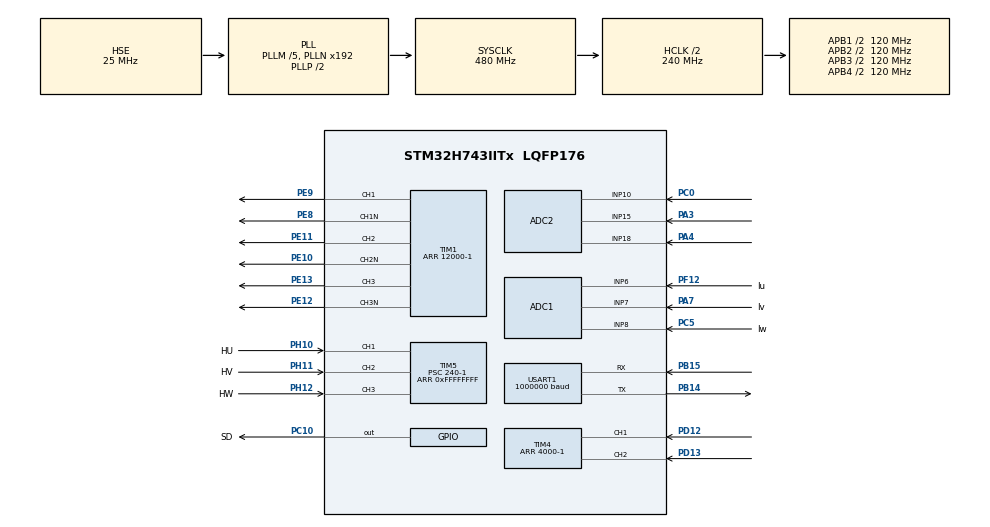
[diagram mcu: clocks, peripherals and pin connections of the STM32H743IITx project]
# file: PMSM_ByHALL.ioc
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ADC1.Channel-0\#ChannelRegularConversion=ADC_CHANNEL_6
ADC1.ClockPrescaler=ADC_CLOCK_ASYNC_DIV4
ADC1.EOCSelection=ADC_EOC_SEQ_CONV
ADC1.EnableInjectedConversion=ENABLE
ADC1.ExternalTrigInjecConv=ADC_EXTERNALTRIGINJEC_T1_CC4
ADC1.InjNumberOfConversion=3
ADC1.InjectedChannel-1\#ChannelInjectedConversion=ADC_CHANNEL_6
ADC1.InjectedChannel-2\#ChannelInjectedConversion=ADC_CHANNEL_7
ADC1.InjectedChannel-3\#ChannelInjectedConversion=ADC_CHANNEL_8
ADC1.InjectedOffsetNumber-1\#ChannelInjectedConversion=ADC_OFFSET_NONE
ADC1.InjectedOffsetNumber-2\#ChannelInjectedConversion=ADC_OFFSET_NONE
ADC1.InjectedOffsetNumber-3\#ChannelInjectedConversion=ADC_OFFSET_NONE
ADC1.InjectedOffsetSaturation-1\#ChannelInjectedConversion=DISABLE
ADC1.InjectedOffsetSaturation-2\#ChannelInjectedConversion=DISABLE
ADC1.InjectedOffsetSaturation-3\#ChannelInjectedConversion=DISABLE
ADC1.InjectedOffsetSignedSaturation-1\#ChannelInjectedConversion=DISABLE
ADC1.InjectedOffsetSignedSaturation-2\#ChannelInjectedConversion=DISABLE
ADC1.InjectedOffsetSignedSaturation-3\#ChannelInjectedConversion=DISABLE
ADC1.InjectedRank-1\#ChannelInjectedConversion=1
ADC1.InjectedRank-2\#ChannelInjectedConversion=2
ADC1.InjectedRank-3\#ChannelInjectedConversion=3
ADC1.InjectedSamplingTime-1\#ChannelInjectedConversion=ADC_SAMPLETIME_16CYCLES_5
ADC1.InjectedSamplingTime-2\#ChannelInjectedConversion=ADC_SAMPLETIME_16CYCLES_5
ADC1.InjectedSamplingTime-3\#ChannelInjectedConversion=ADC_SAMPLETIME_16CYCLES_5
ADC1.NbrOfConversionFlag=1
ADC1.OffsetNumber-0\#ChannelRegularConversion=ADC_OFFSET_NONE
ADC1.OffsetSignedSaturation-0\#ChannelRegularConversion=DISABLE
ADC1.Overrun=ADC_OVR_DATA_OVERWRITTEN
ADC1.Rank-0\#ChannelRegularConversion=1
ADC1.SamplingTime-0\#ChannelRegularConversion=ADC_SAMPLETIME_1CYCLE_5
ADC1.master=1
ADC2.Channel-3\#ChannelRegularConversion=ADC_CHANNEL_10
ADC2.Channel-4\#ChannelRegularConversion=ADC_CHANNEL_15
ADC2.Channel-5\#ChannelRegularConversion=ADC_CHANNEL_18
ADC2.ClockPrescaler=ADC_CLOCK_ASYNC_DIV4
ADC2.ContinuousConvMode=ENABLE
ADC2.ConversionDataManagement=ADC_CONVERSIONDATA_DMA_CIRCULAR
ADC2.NbrOfConversion=3
ADC2.NbrOfConversionFlag=1
ADC2.OffsetNumber-3\#ChannelRegularConversion=ADC_OFFSET_NONE
ADC2.OffsetNumber-4\#ChannelRegularConversion=ADC_OFFSET_NONE
ADC2.OffsetNumber-5\#ChannelRegularConversion=ADC_OFFSET_NONE
ADC2.OffsetSignedSaturation-3\#ChannelRegularConversion=DISABLE
ADC2.OffsetSignedSaturation-4\#ChannelRegularConversion=DISABLE
ADC2.OffsetSignedSaturation-5\#ChannelRegularConversion=DISABLE
ADC2.Rank-3\#ChannelRegularConversion=1
ADC2.Rank-4\#ChannelRegularConversion=2
ADC2.Rank-5\#ChannelRegularConversion=3
ADC2.SamplingTime-3\#ChannelRegularConversion=ADC_SAMPLETIME_16CYCLES_5
ADC2.SamplingTime-4\#ChannelRegularConversion=ADC_SAMPLETIME_16CYCLES_5
ADC2.SamplingTime-5\#ChannelRegularConversion=ADC_SAMPLETIME_16CYCLES_5
CORTEX_M7.default_mode_Activation=1
Dma.ADC2.0.Direction=DMA_PERIPH_TO_MEMORY
Dma.ADC2.0.EventEnable=DISABLE
Dma.ADC2.0.FIFOMode=DMA_FIFOMODE_DISABLE
Dma.ADC2.0.Instance=DMA1_Stream0
Dma.ADC2.0.MemDataAlignment=DMA_MDATAALIGN_HALFWORD
Dma.ADC2.0.MemInc=DMA_MINC_ENABLE
Dma.ADC2.0.Mode=DMA_CIRCULAR
Dma.ADC2.0.PeriphDataAlignment=DMA_PDATAALIGN_HALFWORD
Dma.ADC2.0.PeriphInc=DMA_PINC_DISABLE
Dma.ADC2.0.Polarity=HAL_DMAMUX_REQ_GEN_RISING
Dma.ADC2.0.Priority=DMA_PRIORITY_LOW
Dma.ADC2.0.RequestNumber=1
Dma.ADC2.0.SignalID=NONE
Dma.ADC2.0.SyncEnable=DISABLE
Dma.ADC2.0.SyncPolarity=HAL_DMAMUX_SYNC_NO_EVENT
Dma.ADC2.0.SyncRequestNumber=1
Dma.ADC2.0.SyncSignalID=NONE
Dma.Request0=ADC2
Mcu.Family=STM32H7
Mcu.Name=STM32H743IITx
Mcu.Package=LQFP176
NVIC.ADC_IRQn=true\:0\:0\:false\:false\:true\:true\:true\:true
NVIC.DMA1_Stream0_IRQn=true\:0\:0\:false\:false\:true\:false\:true\:true
NVIC.PriorityGroup=NVIC_PRIORITYGROUP_2
NVIC.TIM1_UP_IRQn=true\:0\:0\:false\:false\:true\:true\:true\:true
NVIC.TIM4_IRQn=true\:0\:0\:false\:false\:true\:true\:true\:true
NVIC.TIM5_IRQn=true\:1\:0\:true\:false\:true\:true\:true\:true
NVIC.TIM7_IRQn=true\:1\:0\:true\:false\:true\:true\:true\:true
PA13\ (JTMS/SWDIO).Mode=Serial_Wire
PA13\ (JTMS/SWDIO).Signal=DEBUG_JTMS-SWDIO
PA14\ (JTCK/SWCLK).Mode=Serial_Wire
PA14\ (JTCK/SWCLK).Signal=DEBUG_JTCK-SWCLK
PA3.Signal=ADCx_INP15
PA4.Signal=ADCx_INP18
PA7.GPIO_Label=Iv
PA7.Signal=ADCx_INP7
PB14.Mode=Asynchronous
PB14.Signal=USART1_TX
PB15.Mode=Asynchronous
PB15.Signal=USART1_RX
PC0.Signal=ADCx_INP10
PC10.GPIO_Label=SD
PC10.Signal=GPIO_Output
PC5.GPIO_Label=Iw
PC5.Signal=ADCx_INP8
PD12.Signal=S_TIM4_CH1
PD13.Signal=S_TIM4_CH2
PE10.Mode=PWM Generation2 CH2 CH2N
PE10.Signal=TIM1_CH2N
PE11.Signal=S_TIM1_CH2
PE12.Mode=PWM Generation3 CH3 CH3N
PE12.Signal=TIM1_CH3N
PE13.Signal=S_TIM1_CH3
PE8.Mode=PWM Generation1 CH1 CH1N
PE8.Signal=TIM1_CH1N
PE9.Signal=S_TIM1_CH1
PF12.GPIO_Label=Iu
PF12.Mode=IN6-Single-Ended
PF12.Signal=ADC1_INP6
PH0-OSC_IN\ (PH0).Mode=HSE-External-Oscillator
PH0-OSC_IN\ (PH0).Signal=RCC_OSC_IN
PH1-OSC_OUT\ (PH1).Mode=HSE-External-Oscillator
PH1-OSC_OUT\ (PH1).Signal=RCC_OSC_OUT
PH10.GPIO_Label=HU
PH10.Signal=S_TIM5_CH1
PH11.GPIO_Label=HV
PH11.Signal=S_TIM5_CH2
PH12.GPIO_Label=HW
PH12.Signal=S_TIM5_CH3
ProjectManager.HeapSize=0x200
ProjectManager.StackSize=0x400
ProjectManager.TargetToolchain=MDK-ARM V5.32
RCC.ADCFreq_Value=75000000
RCC.APB1Freq_Value=120000000
RCC.APB2Freq_Value=120000000
RCC.APB3Freq_Value=120000000
RCC.APB4Freq_Value=120000000
RCC.CortexFreq_Value=480000000
RCC.D1PPRE=RCC_APB3_DIV2
RCC.D2PPRE1=RCC_APB1_DIV2
RCC.D2PPRE2=RCC_APB2_DIV2
RCC.D3PPRE=RCC_APB4_DIV2
RCC.DIVM1=5
RCC.DIVM2=2
RCC.DIVN1=192
RCC.DIVN2=12
RCC.HCLKFreq_Value=240000000
RCC.HPRE=RCC_HCLK_DIV2
RCC.PLL2FRACN=0
RCC.PLLFRACN=0
RCC.PLLSourceVirtual=RCC_PLLSOURCE_HSE
RCC.SYSCLKFreq_VALUE=480000000
RCC.SYSCLKSource=RCC_SYSCLKSOURCE_PLLCLK
RCC.USBFreq_Value=480000000
SH.ADCx_INP10.0=ADC2_INP10,IN10-Single-Ended
SH.ADCx_INP15.0=ADC2_INP15,IN15-Single-Ended
SH.ADCx_INP18.0=ADC2_INP18,IN18-Single-Ended
SH.ADCx_INP7.0=ADC1_INP7,IN7-Single-Ended
SH.ADCx_INP8.0=ADC1_INP8,IN8-Single-Ended
SH.S_TIM1_CH1.0=TIM1_CH1,PWM Generation1 CH1 CH1N
SH.S_TIM1_CH2.0=TIM1_CH2,PWM Generation2 CH2 CH2N
SH.S_TIM1_CH3.0=TIM1_CH3,PWM Generation3 CH3 CH3N
SH.S_TIM4_CH1.0=TIM4_CH1,Encoder_Interface
SH.S_TIM4_CH2.0=TIM4_CH2,Encoder_Interface
SH.S_TIM5_CH1.0=TIM5_CH1,Xored_Inputs_Hall_Sensor_Interface
SH.S_TIM5_CH2.0=TIM5_CH2,Xored_Inputs_Hall_Sensor_Interface
SH.S_TIM5_CH3.0=TIM5_CH3,Xored_Inputs_Hall_Sensor_Interface
TIM1.AutoReloadPreload=TIM_AUTORELOAD_PRELOAD_ENABLE
TIM1.Channel-PWM\ Generation1\ CH1\ CH1N=TIM_CHANNEL_1
TIM1.Channel-PWM\ Generation2\ CH2\ CH2N=TIM_CHANNEL_2
TIM1.Channel-PWM\ Generation3\ CH3\ CH3N=TIM_CHANNEL_3
TIM1.Channel-PWM\ Generation4\ No\ Output=TIM_CHANNEL_4
TIM1.CounterMode=TIM_COUNTERMODE_CENTERALIGNED1
TIM1.DeadTime=100
TIM1.Period=12000-1
TIM1.Pulse-PWM\ Generation4\ No\ Output=11000
TIM1.TIM_MasterOutputTrigger=TIM_TRGO_UPDATE
TIM1.TIM_MasterSlaveMode=TIM_MASTERSLAVEMODE_DISABLE
TIM4.AutoReloadPreload=TIM_AUTORELOAD_PRELOAD_DISABLE
TIM4.EncoderMode=TIM_ENCODERMODE_TI12
TIM4.IC1Filter=6
TIM4.IC2Filter=6
TIM4.Period=4000-1
TIM5.AutoReloadPreload=TIM_AUTORELOAD_PRELOAD_ENABLE
TIM5.IC1Filter=12
TIM5.Period=0xFFFFFFFF
TIM5.Prescaler=240-1
TIM7.AutoReloadPreload=TIM_AUTORELOAD_PRELOAD_ENABLE
TIM7.Period=1000-1
TIM7.Prescaler=120-1
USART1.BaudRate=1000000
USART1.VirtualMode-Asynchronous=VM_ASYNC
VP_MEMORYMAP_VS_MEMORYMAP.Mode=CurAppReg
VP_TIM1_VS_ClockSourceINT.Mode=Internal
VP_TIM1_VS_no_output4.Mode=PWM Generation4 No Output
VP_TIM5_VS_ClockSourceINT.Mode=Internal
VP_TIM7_VS_ClockSourceINT.Mode=Enable_Timer
board=custom

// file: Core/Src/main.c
/* USER CODE BEGIN Header */
/**
  ******************************************************************************
  * @file           : main.c
  * @brief          : Main program body
  ******************************************************************************
  * @attention
  *
  * Copyright (c) 2026 STMicroelectronics.
  * All rights reserved.
  *
  * This software is licensed under terms that can be found in the LICENSE file
  * in the root directory of this software component.
  * If no LICENSE file comes with this software, it is provided AS-IS.
  *
  ******************************************************************************
  */
/* USER CODE END Header */
#include "main.h"
#include "adc.h"
#include "dma.h"
#include "tim.h"
#include "usart.h"
#include "gpio.h"

/* USER CODE BEGIN Includes */
#include <stdio.h>
#include <string.h>
#include "PMSM.h"
#include "Global_Varibles.h"
#include "FOC.h"
#include "PMSM.h"
#include "HALL.h"
#include "SMC.h"
#include "Justfloat.h"
#include "ABZ.h"
/* USER CODE END Includes */

void SystemClock_Config(void);
void PeriphCommonClock_Config(void);
static void MPU_Config(void);

/* USER CODE BEGIN 0 */
uint8_t CalibADC = 0;

float32_t EMFU = 0.0f;
float32_t EMFV = 0.0f;
float32_t EMFW = 0.0f;

/* USER CODE END 0 */

int main(void)
{

  /* MPU Configuration--------------------------------------------------------*/
  MPU_Config();

  /* MCU Configuration--------------------------------------------------------*/

  /* Reset of all peripherals, Initializes the Flash interface and the Systick. */
  HAL_Init();

  /* Configure the system clock */
  SystemClock_Config();

  /* Configure the peripherals common clocks */
  PeriphCommonClock_Config();

  /* Initialize all configured peripherals */
  MX_GPIO_Init();
  MX_DMA_Init();
  MX_ADC1_Init();
  MX_TIM1_Init();
  MX_USART1_UART_Init();
  MX_TIM5_Init();
  MX_TIM7_Init();
  MX_ADC2_Init();
  MX_TIM4_Init();

  /* Infinite loop */
  /* USER CODE BEGIN WHILE */
  PMSM_BoadEnable();
  PMSM_CalibADC(&Current_Offset);
  ABZ_Start();
  SMC_Iq = 0;
  PMSM_Init();
  HALL_Init();

  HAL_ADC_Start_DMA(&hadc2, (uint32_t *)ADC_EMFBuff, 3);
  while (1)
  {
		EMFU = (ADC_EMFBuff[0] - 32768.0f) * 3.3f / 65535.0f * 37.0f;
		EMFV = (ADC_EMFBuff[1] - 32768.0f) * 3.3f / 65535.0f * 37.0f;
		EMFW = (ADC_EMFBuff[2] - 32768.0f) * 3.3f / 65535.0f * 37.0f;

//	  printf("%d,%d,%d\r\n", ADCInjectBuff[0], ADCInjectBuff[1], ADCInjectBuff[2]);
//	  printf("%f,%f,%f\r\n", Curr_Sample.Ia, Curr_Sample.Ib, Curr_Sample.Ic);
//	  printf("%d,%d,%d\r\n", Sector_CCR.CCR1, Sector_CCR.CCR2, Sector_CCR.CCR3);
//	  printf("%f,%f\r\n", HALL.Theta_fit, Mech_Angle);

//	  VOFA_JustFloat_Send1(HALL.State);
//	  VOFA_JustFloat_Send2(HALL.State, Mech_Angle);
//	  VOFA_JustFloat_Send2(HALL.Theta_fit, Mech_Angle);
//	  VOFA_JustFloat_Send2(Elec_Angle, ABZ_AngleElec);
//	  VOFA_JustFloat_Send2(FeedbackCalrk.Alpha, FeedbackCalrk.Beta);
//	  VOFA_JustFloat_Send3(HALL.State, Mech_Angle, HALL.Theta[0]);
//	  VOFA_JustFloat_Send3( Current_Offset.Iu_Offset, Current_Offset.Iv_Offset, Current_Offset.Iw_Offset);
//	  VOFA_JustFloat_Send3( ADCInjectBuff[0], ADCInjectBuff[1], ADCInjectBuff[2]);
//	  VOFA_JustFloat_Send3(Curr_Sample.Ia, Curr_Sample.Ib, Curr_Sample.Ic);
//	  VOFA_JustFloat_Send3(StatorI.Ia, StatorI.Ib, StatorI.Ic);
//	  VOFA_JustFloat_Send3(CurrentLoopID.Actual, CurrentLoopID.Target, CurrentLoopID.Error0);
//	  VOFA_JustFloat_Send3(CurrentLoopIQ.Actual, CurrentLoopIQ.Target, CurrentLoopIQ.Error0);
	  VOFA_JustFloat_Send3(Sector_CCR.CCR1, Sector_CCR.CCR2, Sector_CCR.CCR3);
//	  VOFA_JustFloat_Send4(N, HALL.State, HALL.Angle, Elec_Angle);
//	  VOFA_JustFloat_Send7(MotorTarget_rpm, MotorNow_rpm, HALL.State, Elec_Angle, ADCInjectBuff[0], ADCInjectBuff[1], ADCInjectBuff[2]);
//	  VOFA_JustFloat_Send4(FeedbackCalrk.Alpha, FeedbackCalrk.Beta, FeedbackParkI.D, FeedbackParkI.Q);
//	  VOFA_JustFloat_Send4(CurrentLoopID.Actual, CurrentLoopID.Target, CurrentLoopIQ.Actual, CurrentLoopIQ.Target);
//	  VOFA_JustFloat_Send8(FeedbackParkI.D, FeedbackParkI.Q, CurrentLoopID.Actual, CurrentLoopID.Target, CurrentLoopID.Error0, CurrentLoopIQ.Actual, CurrentLoopIQ.Target, CurrentLoopIQ.Error0);

//	  VOFA_JustFloat_Send9(HALL.State, Mech_Angle, Elec_Angle, HALL.Count[0], HALL.Count[1], HALL.Count[2], HALL.Count[3], HALL.Count[4], HALL.Count[5]);
//	  VOFA_JustFloat_Send10(MotorTarget_rpm, MotorNow_rpm, EMFU, EMFV, EMFW, HALL.State, Elec_Angle, ADCInjectBuff[0], ADCInjectBuff[1], ADCInjectBuff[2]);

    /* USER CODE END WHILE */

  }
}

void SystemClock_Config(void)
{
  RCC_OscInitTypeDef RCC_OscInitStruct = {0};
  RCC_ClkInitTypeDef RCC_ClkInitStruct = {0};

  /** Supply configuration update enable
  */
  HAL_PWREx_ConfigSupply(PWR_LDO_SUPPLY);

  /** Configure the main internal regulator output voltage
  */
  __HAL_PWR_VOLTAGESCALING_CONFIG(PWR_REGULATOR_VOLTAGE_SCALE0);

  while(!__HAL_PWR_GET_FLAG(PWR_FLAG_VOSRDY)) {}

  /** Initializes the RCC Oscillators according to the specified parameters
  * in the RCC_OscInitTypeDef structure.
  */
  RCC_OscInitStruct.OscillatorType = RCC_OSCILLATORTYPE_HSE;
  RCC_OscInitStruct.HSEState = RCC_HSE_ON;
  RCC_OscInitStruct.PLL.PLLState = RCC_PLL_ON;
  RCC_OscInitStruct.PLL.PLLSource = RCC_PLLSOURCE_HSE;
  RCC_OscInitStruct.PLL.PLLM = 5;
  RCC_OscInitStruct.PLL.PLLN = 192;
  RCC_OscInitStruct.PLL.PLLP = 2;
  RCC_OscInitStruct.PLL.PLLQ = 2;
  RCC_OscInitStruct.PLL.PLLR = 2;
  RCC_OscInitStruct.PLL.PLLRGE = RCC_PLL1VCIRANGE_2;
  RCC_OscInitStruct.PLL.PLLVCOSEL = RCC_PLL1VCOWIDE;
  RCC_OscInitStruct.PLL.PLLFRACN = 0;
  if (HAL_RCC_OscConfig(&RCC_OscInitStruct) != HAL_OK)
  {
    Error_Handler();
  }

  /** Initializes the CPU, AHB and APB buses clocks
  */
  RCC_ClkInitStruct.ClockType = RCC_CLOCKTYPE_HCLK|RCC_CLOCKTYPE_SYSCLK
                              |RCC_CLOCKTYPE_PCLK1|RCC_CLOCKTYPE_PCLK2
                              |RCC_CLOCKTYPE_D3PCLK1|RCC_CLOCKTYPE_D1PCLK1;
  RCC_ClkInitStruct.SYSCLKSource = RCC_SYSCLKSOURCE_PLLCLK;
  RCC_ClkInitStruct.SYSCLKDivider = RCC_SYSCLK_DIV1;
  RCC_ClkInitStruct.AHBCLKDivider = RCC_HCLK_DIV2;
  RCC_ClkInitStruct.APB3CLKDivider = RCC_APB3_DIV2;
  RCC_ClkInitStruct.APB1CLKDivider = RCC_APB1_DIV2;
  RCC_ClkInitStruct.APB2CLKDivider = RCC_APB2_DIV2;
  RCC_ClkInitStruct.APB4CLKDivider = RCC_APB4_DIV2;

  if (HAL_RCC_ClockConfig(&RCC_ClkInitStruct, FLASH_LATENCY_4) != HAL_OK)
  {
    Error_Handler();
  }
}

void PeriphCommonClock_Config(void)
{
  RCC_PeriphCLKInitTypeDef PeriphClkInitStruct = {0};

  /** Initializes the peripherals clock
  */
  PeriphClkInitStruct.PeriphClockSelection = RCC_PERIPHCLK_ADC;
  PeriphClkInitStruct.PLL2.PLL2M = 2;
  PeriphClkInitStruct.PLL2.PLL2N = 12;
  PeriphClkInitStruct.PLL2.PLL2P = 2;
  PeriphClkInitStruct.PLL2.PLL2Q = 2;
  PeriphClkInitStruct.PLL2.PLL2R = 2;
  PeriphClkInitStruct.PLL2.PLL2RGE = RCC_PLL2VCIRANGE_3;
  PeriphClkInitStruct.PLL2.PLL2VCOSEL = RCC_PLL2VCOMEDIUM;
  PeriphClkInitStruct.PLL2.PLL2FRACN = 0;
  PeriphClkInitStruct.AdcClockSelection = RCC_ADCCLKSOURCE_PLL2;
  if (HAL_RCCEx_PeriphCLKConfig(&PeriphClkInitStruct) != HAL_OK)
  {
    Error_Handler();
  }
}

/* USER CODE BEGIN 4 */
void HAL_ADCEx_InjectedConvCpltCallback(ADC_HandleTypeDef *hadc)
{
	if (hadc == &hadc1)
	{
		ControlTick ++;

		PMSM_MotorSample();

		switch (Motor_State)
		{
			case MOTOR_OPEN_CURRENT:
				CurrentLoopID.Target = 0.0f;
				CurrentLoopIQ.Target = 2.0f;
				if (ControlTick > 10000)
				{
					Motor_State = MOTOR_HALL_CURRENT;
					ControlTick = 0;
				}
				break;
			case MOTOR_HALL_CURRENT:

				CurrentLoopID.Target = 0.0f;
				CurrentLoopIQ.Target = 2.0f;

				if (ControlTick > 10000)
				{
					Motor_State = MOTOR_SMC_SPEED;
					ControlTick = 0;
					SpeedLoopCnt = 0;
				}
				break;
			case MOTOR_SMC_SPEED:
				if (++SpeedLoopCnt >= 5)
				{
					SpeedLoopCnt = 0;

					float32_t w_ref = MotorTarget_rpm * PI / 30.0f;
					float32_t w_fb  = HALL.Speed_AvgOmega / Polo_Num;

					MotorNow_rpm = w_fb * 30.0 / PI;

//					SpeedLoop.Target = MotorTarget_rpm;
					SpeedLoop.Actual = MotorNow_rpm;
					PID_Update(&SpeedLoop);
					CurrentLoopIQ.Target = SpeedLoop.Out;

//					SMC_Iq = SMC_Speed_Process(&SMC_Speed, w_ref, w_fb);
//					CurrentLoopIQ.Target = SMC_Iq;
				}
				break;

			default:
				break;
		}

		/*电流环Id---PI控制*/
		CurrentLoopID.Actual = FeedbackParkI.D;
		PID_Update(&CurrentLoopID);
		OpenLoopUdq.D = CurrentLoopID.Out;

		/*电流环Iq---PI控制*/
		CurrentLoopIQ.Actual = FeedbackParkI.Q;
		PID_Update(&CurrentLoopIQ);
		OpenLoopUdq.Q = CurrentLoopIQ.Out;

		FOC_AntiPark(&OpenLoopUdq, &OpenLoopUalbe,Elec_Angle);
		/*扇区判断*/
		N = FOC_SectorJudege(OpenLoopUalbe.Alpha, OpenLoopUalbe.Beta);
		/*矢量作用时间*/
		Vector_Dura = FOC_VectorCaculate(OpenLoopUalbe.Alpha,  OpenLoopUalbe.Beta, N, U_dc, Tpwm);
		Sector_CCR = FOC_SectorCCRCaculate(N, Vector_Dura, Tpwm);

		TIM1->CCR1 = Sector_CCR.CCR1;
		TIM1->CCR2 = Sector_CCR.CCR2;
		TIM1->CCR3 = Sector_CCR.CCR3;
	}
}

void HAL_TIM_PeriodElapsedCallback(TIM_HandleTypeDef *htim)
{
	if (htim == &htim7)
	{
//		float32_t w_ref = MotorTarget_rpm * PI / 30;
//		float32_t w_fb = HALL.Speed_AvgOmega / Polo_Num;
//		SMC_Iq = SMC_Speed_Process(&SMC_Speed, w_ref, w_fb);
//		CurrentLoopIQ.Target = SMC_Iq;
	}
}

int fputc(int ch, FILE *f)
{
    HAL_UART_Transmit(&huart1, (uint8_t *)&ch, 1, HAL_MAX_DELAY);
    return ch;
}
/* USER CODE END 4 */

 /* MPU Configuration */

void MPU_Config(void)
{
  MPU_Region_InitTypeDef MPU_InitStruct = {0};

  /* Disables the MPU */
  HAL_MPU_Disable();

  /** Initializes and configures the Region and the memory to be protected
  */
  MPU_InitStruct.Enable = MPU_REGION_ENABLE;
  MPU_InitStruct.Number = MPU_REGION_NUMBER0;
  MPU_InitStruct.BaseAddress = 0x0;
  MPU_InitStruct.Size = MPU_REGION_SIZE_4GB;
  MPU_InitStruct.SubRegionDisable = 0x87;
  MPU_InitStruct.TypeExtField = MPU_TEX_LEVEL0;
  MPU_InitStruct.AccessPermission = MPU_REGION_NO_ACCESS;
  MPU_InitStruct.DisableExec = MPU_INSTRUCTION_ACCESS_DISABLE;
  MPU_InitStruct.IsShareable = MPU_ACCESS_SHAREABLE;
  MPU_InitStruct.IsCacheable = MPU_ACCESS_NOT_CACHEABLE;
  MPU_InitStruct.IsBufferable = MPU_ACCESS_NOT_BUFFERABLE;

  HAL_MPU_ConfigRegion(&MPU_InitStruct);
  /* Enables the MPU */
  HAL_MPU_Enable(MPU_PRIVILEGED_DEFAULT);

}

void Error_Handler(void)
{
  __disable_irq();
  while (1)
  {
  }
}
